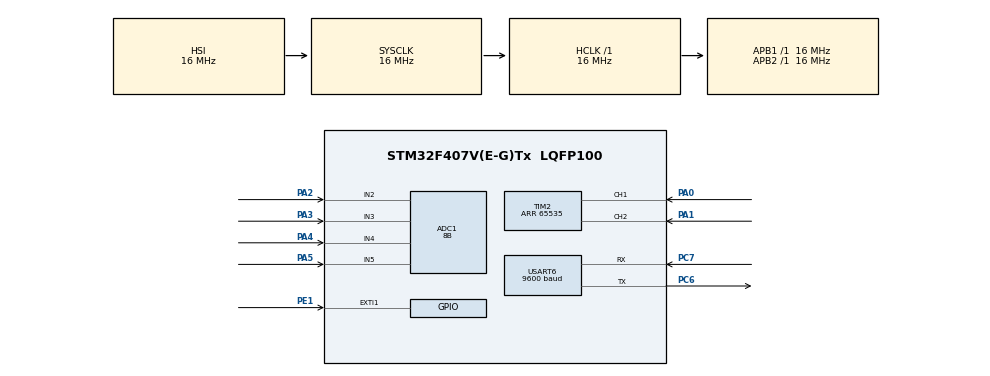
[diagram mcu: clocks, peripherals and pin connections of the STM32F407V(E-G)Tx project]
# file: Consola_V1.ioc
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ADC1.Channel-1\#ChannelRegularConversion=ADC_CHANNEL_2
ADC1.Channel-15\#ChannelRegularConversion=ADC_CHANNEL_5
ADC1.Channel-2\#ChannelRegularConversion=ADC_CHANNEL_3
ADC1.Channel-3\#ChannelRegularConversion=ADC_CHANNEL_4
ADC1.ClockPrescaler=ADC_CLOCK_SYNC_PCLK_DIV8
ADC1.ContinuousConvMode=ENABLE
ADC1.DMAContinuousRequests=ENABLE
ADC1.NbrOfConversion=4
ADC1.NbrOfConversionFlag=1
ADC1.Rank-1\#ChannelRegularConversion=1
ADC1.Rank-15\#ChannelRegularConversion=4
ADC1.Rank-2\#ChannelRegularConversion=2
ADC1.Rank-3\#ChannelRegularConversion=3
ADC1.Resolution=ADC_RESOLUTION_8B
ADC1.SamplingTime-1\#ChannelRegularConversion=ADC_SAMPLETIME_56CYCLES
ADC1.SamplingTime-15\#ChannelRegularConversion=ADC_SAMPLETIME_56CYCLES
ADC1.SamplingTime-2\#ChannelRegularConversion=ADC_SAMPLETIME_56CYCLES
ADC1.SamplingTime-3\#ChannelRegularConversion=ADC_SAMPLETIME_56CYCLES
ADC1.master=1
Dma.ADC1.0.Direction=DMA_PERIPH_TO_MEMORY
Dma.ADC1.0.FIFOMode=DMA_FIFOMODE_DISABLE
Dma.ADC1.0.Instance=DMA2_Stream0
Dma.ADC1.0.MemDataAlignment=DMA_MDATAALIGN_BYTE
Dma.ADC1.0.MemInc=DMA_MINC_ENABLE
Dma.ADC1.0.Mode=DMA_CIRCULAR
Dma.ADC1.0.PeriphDataAlignment=DMA_PDATAALIGN_BYTE
Dma.ADC1.0.PeriphInc=DMA_PINC_DISABLE
Dma.ADC1.0.Priority=DMA_PRIORITY_LOW
Dma.Request0=ADC1
Mcu.Family=STM32F4
Mcu.Name=STM32F407V(E-G)Tx
Mcu.Package=LQFP100
NVIC.ADC_IRQn=true\:0\:0\:false\:false\:true\:true\:true\:true
NVIC.DMA2_Stream0_IRQn=true\:0\:0\:false\:false\:true\:false\:true\:true
NVIC.EXTI1_IRQn=true\:0\:0\:false\:false\:true\:true\:true\:true
NVIC.PriorityGroup=NVIC_PRIORITYGROUP_4
NVIC.TIM2_IRQn=true\:0\:0\:false\:false\:true\:true\:true\:true
NVIC.TIM4_IRQn=true\:0\:0\:false\:false\:true\:true\:true\:true
NVIC.USART6_IRQn=true\:0\:0\:false\:false\:true\:true\:true\:true
PA0-WKUP.Signal=S_TIM2_CH1_ETR
PA1.Signal=S_TIM2_CH2
PA13.Mode=Serial_Wire
PA13.Signal=SYS_JTMS-SWDIO
PA14.Mode=Serial_Wire
PA14.Signal=SYS_JTCK-SWCLK
PA2.Signal=ADCx_IN2
PA3.Signal=ADCx_IN3
PA4.Signal=ADCx_IN4
PA5.Signal=ADCx_IN5
PC6.Mode=Asynchronous
PC6.Signal=USART6_TX
PC7.Mode=Asynchronous
PC7.Signal=USART6_RX
PE1.GPIO_ModeDefaultEXTI=GPIO_MODE_IT_RISING_FALLING
PE1.Signal=GPXTI1
ProjectManager.HeapSize=0x200
ProjectManager.StackSize=0x400
ProjectManager.TargetToolchain=STM32CubeIDE
RCC.AHBFreq_Value=16000000
RCC.APB1Freq_Value=16000000
RCC.APB2Freq_Value=16000000
RCC.CortexFreq_Value=16000000
RCC.HSE_VALUE=25000000
RCC.HSI_VALUE=16000000
RCC.LSE_VALUE=32768
RCC.SYSCLKFreq_VALUE=16000000
RCC.VCOOutputFreq_Value=192000000
SH.ADCx_IN2.0=ADC1_IN2,IN2
SH.ADCx_IN3.0=ADC1_IN3,IN3
SH.ADCx_IN4.0=ADC1_IN4,IN4
SH.ADCx_IN5.0=ADC1_IN5,IN5
SH.S_TIM2_CH1_ETR.0=TIM2_CH1,Encoder_Interface
SH.S_TIM2_CH2.0=TIM2_CH2,Encoder_Interface
TIM2.EncoderMode=TIM_ENCODERMODE_TI12
TIM2.IC1Polarity=TIM_ICPOLARITY_FALLING
TIM2.IC2Polarity=TIM_ICPOLARITY_FALLING
TIM2.Period=65535
TIM4.Channel-Output\ Compare1\ No\ Output=TIM_CHANNEL_1
TIM4.Period=15999
USART6.BaudRate=9600
USART6.VirtualMode=VM_ASYNC
VP_TIM4_VS_no_output1.Mode=Output Compare1 No Output
board=custom

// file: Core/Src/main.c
/* USER CODE BEGIN Header */
/**
  ******************************************************************************
  * @file           : main.c
  * @brief          : Main program body
  ******************************************************************************
  * @attention
  *
  * <h2><center>&copy; Copyright (c) 2021 STMicroelectronics.
  * All rights reserved.</center></h2>
  *
  * This software component is licensed by ST under BSD 3-Clause license,
  * the "License"; You may not use this file except in compliance with the
  * License. You may obtain a copy of the License at:
  *                        opensource.org/licenses/BSD-3-Clause
  *
  ******************************************************************************
  */
/* USER CODE END Header */
#include "main.h"

/* USER CODE BEGIN PD */

#define READY			0
#define BUSY			1
#define wait_bouncing	200

#define encoder_port	GPIOE
#define encoder_key 	GPIO_PIN_1
#define ON			1
#define OFF			0
#define IDLE		0
#define CHECK		1
#define PUSH		2
#define NPUSH		3
#define DEBOUNCING_TIME		20

/* USER CODE END PD */

ADC_HandleTypeDef hadc1;
DMA_HandleTypeDef hdma_adc1;

TIM_HandleTypeDef htim2;
TIM_HandleTypeDef htim4;

UART_HandleTypeDef huart6;

/* USER CODE BEGIN PV */

uint8_t   	ADC_buffer[14];
uint32_t 	ADC_counter;
uint8_t 	MIDI_pot1[3] = {0xB0,01,00};
uint16_t	pot1;
uint8_t 	MIDI_pot2[3] = {0xB0,02,00};
uint16_t	pot2;
uint8_t 	MIDI_pot3[3] = {0xB0,03,00};
uint16_t	pot3;
uint8_t 	MIDI_pot4[3] = {0xB0,04,00};
uint16_t	pot4;
uint8_t		flagSend_MIDI_pot[5] = {0,0,0,0,0};

uint8_t		tx_buffer[15];
uint8_t		tx_state;
uint16_t	tx_counter;
int			tx_data;

uint32_t	counter_encoder = 0;
uint32_t	tim2_count = 0;
uint32_t	direc;
uint32_t	encoder_bouncing;
int			data_encoder;
uint8_t		MIDI_scroll[3] = {0XB0, 0X1A, 0X7F};

uint8_t		MIDI_swEncoder[3] = {0x90, 0x34, 0x47};
uint8_t		flag_swEncoder_push;
uint8_t		flagSend_MIDI_swEncoder;
uint32_t	counter_swEncoder;
uint8_t 	value_swEncoder;

/* USER CODE END PV */

void SystemClock_Config(void);
static void MX_GPIO_Init(void);
static void MX_DMA_Init(void);
static void MX_ADC1_Init(void);
static void MX_TIM2_Init(void);
static void MX_TIM4_Init(void);
static void MX_USART6_UART_Init(void);

/* USER CODE BEGIN 0 */

void HAL_TIM_PeriodElapsedCallback (TIM_HandleTypeDef *htim){
	if(data_encoder == 1){
		encoder_bouncing++;
	}
	counter_swEncoder++;
	ADC_counter++;
	tx_counter++;
}

void HAL_TIM_IC_CaptureCallback(TIM_HandleTypeDef *htim){

	tim2_count = __HAL_TIM_GET_COUNTER(htim);
	direc = !(__HAL_TIM_IS_TIM_COUNTING_DOWN(&htim2));

	if( (tim2_count != counter_encoder) && (direc == 1) ){
		MIDI_scroll[2] = 127;
		tx_data = 1;
		data_encoder = 1;
		encoder_bouncing = 0;
		counter_encoder = tim2_count;
	}

	if( (tim2_count != counter_encoder) && (direc == 0) ){
		MIDI_scroll[2] = 1;
		tx_data = 1;
		data_encoder = 1;
		encoder_bouncing = 0;
		counter_encoder = tim2_count;
	}
}

void HAL_GPIO_EXTI_Callback(uint16_t GPIO_Pin)
{
	if(HAL_GPIO_ReadPin(encoder_port, encoder_key) == 1){
		flag_swEncoder_push = ON;
		value_swEncoder = HAL_GPIO_ReadPin(encoder_port, encoder_key);
	}
}

void swEncoder_Task(void){

	static uint8_t state = IDLE;

	switch(state)
	{
		case IDLE:
			if(flag_swEncoder_push == ON)
			{
				state = CHECK;
				counter_swEncoder = 0;
				flag_swEncoder_push = OFF;
			}
		break;
		case CHECK:
			if(counter_swEncoder == DEBOUNCING_TIME)
			{
				if(value_swEncoder == HAL_GPIO_ReadPin(encoder_port, encoder_key))
				{
					if(value_swEncoder == GPIO_PIN_SET)
						state = PUSH;
					else
						state = NPUSH;
				}
				else
					state = IDLE;
			}
		break;
		case PUSH:
			//-- Aca poner instrucciones de que hacer al presionar sw0 --//
				flagSend_MIDI_swEncoder = 1;
			//---------------------------- Fin --------------------------//
			state=IDLE;
		break;
		case NPUSH:
			//-- Aca poner instrucciones de que hacer al soltar sw0 --//
			//---------------------------- Fin --------------------------//
			state=IDLE;
		break;
	}
}

void ADC_task(void){

	if(ADC_counter > 500){

		ADC_counter = 0;

		if( ( (ADC_buffer[0]) < (pot1-5) ) || ( (ADC_buffer[0]) > (pot1+5) ) ){
			pot1 = ADC_buffer[0];
			MIDI_pot1[2] = ADC_buffer[0] * 127 / 256;
			flagSend_MIDI_pot[1] = 1;
		}

		if( ( (ADC_buffer[1]) < (pot2-5) ) || ( (ADC_buffer[1]) > (pot2+5) ) ){
			pot2 = ADC_buffer[1];
			MIDI_pot2[2] = ADC_buffer[1] * 127 / 256;
			flagSend_MIDI_pot[2] = 1;
		}

		if( ( (ADC_buffer[2]) < (pot3-5) ) || ( (ADC_buffer[2]) > (pot3+5) ) ){
			pot3 = ADC_buffer[2];
			MIDI_pot3[2] = ADC_buffer[2] * 127 / 256;
			flagSend_MIDI_pot[3] = 1;
		}

		if( ( (ADC_buffer[3]) < (pot4-5) ) || ( (ADC_buffer[3]) > (pot4+5) ) ){
			pot4 = ADC_buffer[3];
			MIDI_pot4[2] = ADC_buffer[3] * 127 / 256;
			flagSend_MIDI_pot[4] = 1;
		}
	}

}

void HAL_UART_TxCpltCallback(UART_HandleTypeDef *huart){
	tx_state = READY;
}

void tx_task(void){

	if((tx_state == READY) && (encoder_bouncing == wait_bouncing)){
		tx_state = BUSY;
		tx_data = 0;
		encoder_bouncing = 0;
		data_encoder = 0;

		HAL_UART_Transmit_IT(&huart6,(uint8_t*) MIDI_scroll,3);
	}

	if( (tx_state == READY) && (flagSend_MIDI_pot[1] == 1) ){
		flagSend_MIDI_pot[1] = 0;
		tx_state = BUSY;
		HAL_UART_Transmit_IT(&huart6,(uint8_t*) MIDI_pot1,3);
	}

	if( (tx_state == READY) && (flagSend_MIDI_pot[2] == 1) ){
		flagSend_MIDI_pot[2] = 0;
		tx_state = BUSY;
		HAL_UART_Transmit_IT(&huart6,(uint8_t*) MIDI_pot2,3);
	}

	if( (tx_state == READY) && (flagSend_MIDI_pot[3] == 1) ){
		flagSend_MIDI_pot[3] = 0;
		tx_state = BUSY;
		HAL_UART_Transmit_IT(&huart6,(uint8_t*) MIDI_pot3,3);
	}

	if( (tx_state == READY) && (flagSend_MIDI_pot[4] == 1) ){
		flagSend_MIDI_pot[4] = 0;
		tx_state = BUSY;
		HAL_UART_Transmit_IT(&huart6,(uint8_t*) MIDI_pot4,3);
	}

	if( (tx_state == READY) && (flagSend_MIDI_swEncoder == 1) ){
		flagSend_MIDI_swEncoder = 0;
		tx_state = BUSY;
		HAL_UART_Transmit_IT(&huart6,(uint8_t*) MIDI_swEncoder,3);
	}
}

/* USER CODE END 0 */

int main(void)
{

  /* MCU Configuration--------------------------------------------------------*/

  /* Reset of all peripherals, Initializes the Flash interface and the Systick. */
  HAL_Init();

  /* Configure the system clock */
  SystemClock_Config();

  /* Initialize all configured peripherals */
  MX_GPIO_Init();
  MX_DMA_Init();
  MX_ADC1_Init();
  MX_TIM2_Init();
  MX_TIM4_Init();
  MX_USART6_UART_Init();
  /* USER CODE BEGIN 2 */

  HAL_TIM_Base_Start_IT(&htim4);
  HAL_TIM_Encoder_Start_IT(&htim2, TIM_CHANNEL_ALL);
  HAL_ADC_Start_DMA(&hadc1, (uint32_t *) &ADC_buffer, 4);

  tx_buffer[0] = 0;

  /* USER CODE END 2 */

  /* Infinite loop */
  /* USER CODE BEGIN WHILE */
  while (1)
  {
	  swEncoder_Task();
	  ADC_task();
	  tx_task();

    /* USER CODE END WHILE */

  }
}

void SystemClock_Config(void)
{
  RCC_OscInitTypeDef RCC_OscInitStruct = {0};
  RCC_ClkInitTypeDef RCC_ClkInitStruct = {0};

  /** Configure the main internal regulator output voltage
  */
  __HAL_RCC_PWR_CLK_ENABLE();
  __HAL_PWR_VOLTAGESCALING_CONFIG(PWR_REGULATOR_VOLTAGE_SCALE1);
  /** Initializes the RCC Oscillators according to the specified parameters
  * in the RCC_OscInitTypeDef structure.
  */
  RCC_OscInitStruct.OscillatorType = RCC_OSCILLATORTYPE_HSI;
  RCC_OscInitStruct.HSIState = RCC_HSI_ON;
  RCC_OscInitStruct.HSICalibrationValue = RCC_HSICALIBRATION_DEFAULT;
  RCC_OscInitStruct.PLL.PLLState = RCC_PLL_NONE;
  if (HAL_RCC_OscConfig(&RCC_OscInitStruct) != HAL_OK)
  {
    Error_Handler();
  }
  /** Initializes the CPU, AHB and APB buses clocks
  */
  RCC_ClkInitStruct.ClockType = RCC_CLOCKTYPE_HCLK|RCC_CLOCKTYPE_SYSCLK
                              |RCC_CLOCKTYPE_PCLK1|RCC_CLOCKTYPE_PCLK2;
  RCC_ClkInitStruct.SYSCLKSource = RCC_SYSCLKSOURCE_HSI;
  RCC_ClkInitStruct.AHBCLKDivider = RCC_SYSCLK_DIV1;
  RCC_ClkInitStruct.APB1CLKDivider = RCC_HCLK_DIV1;
  RCC_ClkInitStruct.APB2CLKDivider = RCC_HCLK_DIV1;

  if (HAL_RCC_ClockConfig(&RCC_ClkInitStruct, FLASH_LATENCY_0) != HAL_OK)
  {
    Error_Handler();
  }
}

static void MX_ADC1_Init(void)
{

  ADC_ChannelConfTypeDef sConfig = {0};

  /** Configure the global features of the ADC (Clock, Resolution, Data Alignment and number of conversion)
  */
  hadc1.Instance = ADC1;
  hadc1.Init.ClockPrescaler = ADC_CLOCK_SYNC_PCLK_DIV8;
  hadc1.Init.Resolution = ADC_RESOLUTION_8B;
  hadc1.Init.ScanConvMode = ENABLE;
  hadc1.Init.ContinuousConvMode = ENABLE;
  hadc1.Init.DiscontinuousConvMode = DISABLE;
  hadc1.Init.ExternalTrigConvEdge = ADC_EXTERNALTRIGCONVEDGE_NONE;
  hadc1.Init.ExternalTrigConv = ADC_SOFTWARE_START;
  hadc1.Init.DataAlign = ADC_DATAALIGN_RIGHT;
  hadc1.Init.NbrOfConversion = 4;
  hadc1.Init.DMAContinuousRequests = ENABLE;
  hadc1.Init.EOCSelection = ADC_EOC_SINGLE_CONV;
  if (HAL_ADC_Init(&hadc1) != HAL_OK)
  {
    Error_Handler();
  }
  /** Configure for the selected ADC regular channel its corresponding rank in the sequencer and its sample time.
  */
  sConfig.Channel = ADC_CHANNEL_2;
  sConfig.Rank = 1;
  sConfig.SamplingTime = ADC_SAMPLETIME_56CYCLES;
  if (HAL_ADC_ConfigChannel(&hadc1, &sConfig) != HAL_OK)
  {
    Error_Handler();
  }
  /** Configure for the selected ADC regular channel its corresponding rank in the sequencer and its sample time.
  */
  sConfig.Channel = ADC_CHANNEL_3;
  sConfig.Rank = 2;
  if (HAL_ADC_ConfigChannel(&hadc1, &sConfig) != HAL_OK)
  {
    Error_Handler();
  }
  /** Configure for the selected ADC regular channel its corresponding rank in the sequencer and its sample time.
  */
  sConfig.Channel = ADC_CHANNEL_4;
  sConfig.Rank = 3;
  if (HAL_ADC_ConfigChannel(&hadc1, &sConfig) != HAL_OK)
  {
    Error_Handler();
  }
  /** Configure for the selected ADC regular channel its corresponding rank in the sequencer and its sample time.
  */
  sConfig.Channel = ADC_CHANNEL_5;
  sConfig.Rank = 4;
  if (HAL_ADC_ConfigChannel(&hadc1, &sConfig) != HAL_OK)
  {
    Error_Handler();
  }

}

static void MX_TIM2_Init(void)
{

  TIM_Encoder_InitTypeDef sConfig = {0};
  TIM_MasterConfigTypeDef sMasterConfig = {0};

  htim2.Instance = TIM2;
  htim2.Init.Prescaler = 0;
  htim2.Init.CounterMode = TIM_COUNTERMODE_UP;
  htim2.Init.Period = 65535;
  htim2.Init.ClockDivision = TIM_CLOCKDIVISION_DIV1;
  htim2.Init.AutoReloadPreload = TIM_AUTORELOAD_PRELOAD_DISABLE;
  sConfig.EncoderMode = TIM_ENCODERMODE_TI12;
  sConfig.IC1Polarity = TIM_ICPOLARITY_FALLING;
  sConfig.IC1Selection = TIM_ICSELECTION_DIRECTTI;
  sConfig.IC1Prescaler = TIM_ICPSC_DIV1;
  sConfig.IC1Filter = 0;
  sConfig.IC2Polarity = TIM_ICPOLARITY_FALLING;
  sConfig.IC2Selection = TIM_ICSELECTION_DIRECTTI;
  sConfig.IC2Prescaler = TIM_ICPSC_DIV1;
  sConfig.IC2Filter = 0;
  if (HAL_TIM_Encoder_Init(&htim2, &sConfig) != HAL_OK)
  {
    Error_Handler();
  }
  sMasterConfig.MasterOutputTrigger = TIM_TRGO_RESET;
  sMasterConfig.MasterSlaveMode = TIM_MASTERSLAVEMODE_DISABLE;
  if (HAL_TIMEx_MasterConfigSynchronization(&htim2, &sMasterConfig) != HAL_OK)
  {
    Error_Handler();
  }

}

static void MX_TIM4_Init(void)
{

  TIM_MasterConfigTypeDef sMasterConfig = {0};
  TIM_OC_InitTypeDef sConfigOC = {0};

  htim4.Instance = TIM4;
  htim4.Init.Prescaler = 0;
  htim4.Init.CounterMode = TIM_COUNTERMODE_UP;
  htim4.Init.Period = 15999;
  htim4.Init.ClockDivision = TIM_CLOCKDIVISION_DIV1;
  htim4.Init.AutoReloadPreload = TIM_AUTORELOAD_PRELOAD_DISABLE;
  if (HAL_TIM_OC_Init(&htim4) != HAL_OK)
  {
    Error_Handler();
  }
  sMasterConfig.MasterOutputTrigger = TIM_TRGO_RESET;
  sMasterConfig.MasterSlaveMode = TIM_MASTERSLAVEMODE_DISABLE;
  if (HAL_TIMEx_MasterConfigSynchronization(&htim4, &sMasterConfig) != HAL_OK)
  {
    Error_Handler();
  }
  sConfigOC.OCMode = TIM_OCMODE_TIMING;
  sConfigOC.Pulse = 0;
  sConfigOC.OCPolarity = TIM_OCPOLARITY_HIGH;
  sConfigOC.OCFastMode = TIM_OCFAST_DISABLE;
  if (HAL_TIM_OC_ConfigChannel(&htim4, &sConfigOC, TIM_CHANNEL_1) != HAL_OK)
  {
    Error_Handler();
  }

}

static void MX_USART6_UART_Init(void)
{

  huart6.Instance = USART6;
  huart6.Init.BaudRate = 9600;
  huart6.Init.WordLength = UART_WORDLENGTH_8B;
  huart6.Init.StopBits = UART_STOPBITS_1;
  huart6.Init.Parity = UART_PARITY_NONE;
  huart6.Init.Mode = UART_MODE_TX_RX;
  huart6.Init.HwFlowCtl = UART_HWCONTROL_NONE;
  huart6.Init.OverSampling = UART_OVERSAMPLING_16;
  if (HAL_UART_Init(&huart6) != HAL_OK)
  {
    Error_Handler();
  }

}

static void MX_DMA_Init(void)
{

  /* DMA controller clock enable */
  __HAL_RCC_DMA2_CLK_ENABLE();

  /* DMA interrupt init */
  /* DMA2_Stream0_IRQn interrupt configuration */
  HAL_NVIC_SetPriority(DMA2_Stream0_IRQn, 0, 0);
  HAL_NVIC_EnableIRQ(DMA2_Stream0_IRQn);

}

static void MX_GPIO_Init(void)
{
  GPIO_InitTypeDef GPIO_InitStruct = {0};

  /* GPIO Ports Clock Enable */
  __HAL_RCC_GPIOA_CLK_ENABLE();
  __HAL_RCC_GPIOC_CLK_ENABLE();
  __HAL_RCC_GPIOE_CLK_ENABLE();

  /*Configure GPIO pin : PE1 */
  GPIO_InitStruct.Pin = GPIO_PIN_1;
  GPIO_InitStruct.Mode = GPIO_MODE_IT_RISING_FALLING;
  GPIO_InitStruct.Pull = GPIO_NOPULL;
  HAL_GPIO_Init(GPIOE, &GPIO_InitStruct);

  /* EXTI interrupt init*/
  HAL_NVIC_SetPriority(EXTI1_IRQn, 0, 0);
  HAL_NVIC_EnableIRQ(EXTI1_IRQn);

}

void Error_Handler(void)
{
  __disable_irq();
  while (1)
  {
  }
}

/************************ (C) COPYRIGHT STMicroelectronics *****END OF FILE****/
